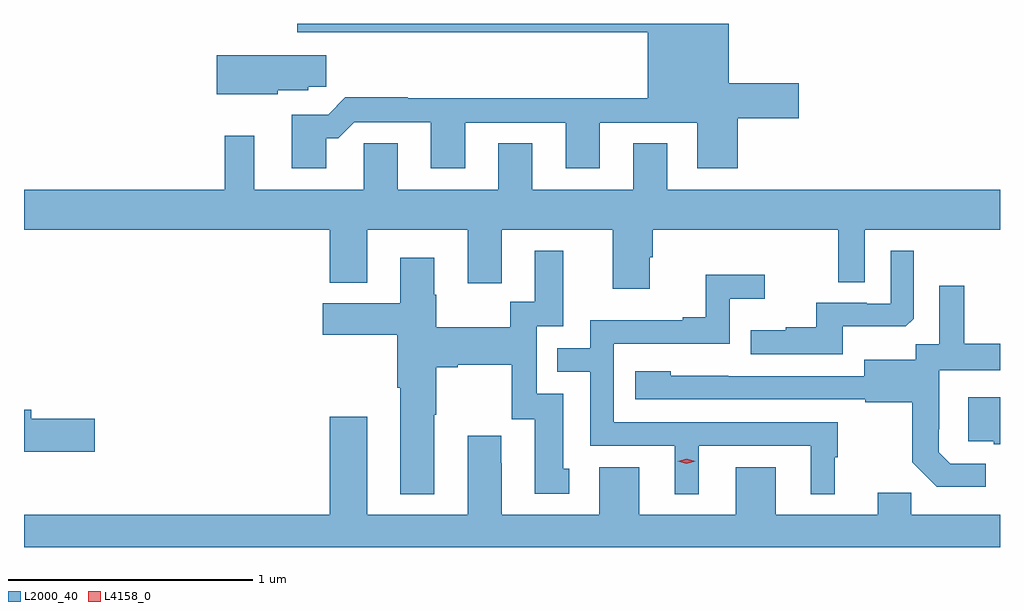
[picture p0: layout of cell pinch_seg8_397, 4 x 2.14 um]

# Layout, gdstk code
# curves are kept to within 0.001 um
import gdstk
lib = gdstk.Library(unit=1e-6, precision=1e-09)
def P(c, l, *ps):  # polygons
    for p in ps: c.add(gdstk.Polygon(p, *l))
L2000_40 = (2000, 40)
L4158_0 = (4158, 0)

pinch_seg8_397 = lib.new_cell('pinch_seg8_397')
P(pinch_seg8_397, L2000_40, [(604.687,1083.575),(604.736,1083.575),(604.803,1083.642),(605.117,1083.642),(605.117,1083.453),(605.257,1083.453),(605.257,1083.639),(605.669,1083.639),(605.669,1083.453),(605.809,1083.453),(605.809,1083.639),(606.209,1083.639),(606.209,1083.453),(606.374,1083.453),(606.374,1083.658),(606.625,1083.658),(606.625,1083.8),(606.337,1083.8),(606.337,1084.044),(604.568,1084.044),(604.568,1084.01),(606.005,1084.01),(606.005,1083.74),(605.021,1083.74),(605.021,1083.743),(604.766,1083.743),(604.695,1083.672),(604.547,1083.672),(604.547,1083.453),(604.687,1083.453)],
  [(604.488,1083.773),(604.614,1083.773),(604.614,1083.787),(604.687,1083.787),(604.687,1083.916),(604.238,1083.916),(604.238,1083.755),(604.488,1083.755)],
  [(606.013,1083.087),(606.026,1083.087),(606.026,1083.2),(606.786,1083.2),(606.786,1082.986),(606.894,1082.986),(606.894,1083.2),(607.449,1083.2),(607.449,1083.364),(606.085,1083.364),(606.085,1083.554),(605.945,1083.554),(605.945,1083.364),(605.533,1083.364),(605.533,1083.554),(605.393,1083.554),(605.393,1083.364),(604.981,1083.364),(604.981,1083.554),(604.842,1083.554),(604.842,1083.364),(604.393,1083.364),(604.393,1083.586),(604.272,1083.586),(604.272,1083.364),(603.449,1083.364),(603.449,1083.2),(604.703,1083.2),(604.703,1082.984),(604.855,1082.984),(604.855,1083.2),(605.267,1083.2),(605.267,1082.982),(605.407,1082.982),(605.407,1083.2),(605.861,1083.2),(605.861,1082.958),(606.013,1082.958)],
  [(606.805,1082.804),(607.063,1082.804),(607.095,1082.835),(607.095,1083.115),(607.002,1083.115),(607.002,1082.898),(606.902,1082.898),(606.902,1082.901),(606.695,1082.901),(606.695,1082.8),(606.571,1082.8),(606.571,1082.788),(606.427,1082.788),(606.427,1082.691),(606.805,1082.691)],
  [(605.131,1082.443),(605.139,1082.443),(605.139,1082.636),(605.227,1082.636),(605.227,1082.648),(605.447,1082.648),(605.447,1082.424),(605.543,1082.424),(605.543,1082.118),(605.683,1082.118),(605.683,1082.22),(605.659,1082.22),(605.659,1082.529),(605.55,1082.529),(605.55,1082.805),(605.659,1082.805),(605.659,1083.115),(605.543,1083.115),(605.543,1082.906),(605.442,1082.906),(605.442,1082.8),(605.139,1082.8),(605.139,1082.934),(605.131,1082.934),(605.131,1083.085),(604.991,1083.085),(604.991,1082.899),(604.674,1082.899),(604.674,1082.77),(604.979,1082.77),(604.979,1082.552),(604.991,1082.552),(604.991,1082.117),(605.131,1082.117)],
  [(606.214,1082.316),(606.674,1082.316),(606.674,1082.117),(606.772,1082.117),(606.772,1082.268),(606.784,1082.268),(606.784,1082.412),(605.865,1082.412),(605.865,1082.733),(606.342,1082.733),(606.342,1082.918),(606.484,1082.918),(606.484,1083.017),(606.244,1083.017),(606.244,1082.842),(606.149,1082.842),(606.149,1082.829),(605.769,1082.829),(605.769,1082.715),(605.635,1082.715),(605.635,1082.619),(605.769,1082.619),(605.769,1082.316),(606.116,1082.316),(606.116,1082.117),(606.214,1082.117)],
  [(607.39,1082.241),(607.245,1082.241),(607.198,1082.288),(607.198,1082.383),(607.2,1082.383),(607.2,1082.624),(607.449,1082.624),(607.449,1082.734),(607.303,1082.734),(607.303,1082.971),(607.199,1082.971),(607.199,1082.732),(607.104,1082.732),(607.104,1082.668),(606.893,1082.668),(606.893,1082.601),(606.099,1082.602),(606.099,1082.62),(605.955,1082.62),(605.955,1082.505),(606.897,1082.505),(606.897,1082.493),(607.089,1082.493),(607.089,1082.247),(607.189,1082.147),(607.39,1082.147)],
  [(607.449,1082.515),(607.319,1082.515),(607.319,1082.334),(607.423,1082.334),(607.423,1082.322),(607.449,1082.322)],
  [(603.739,1082.426),(603.478,1082.426),(603.478,1082.462),(603.449,1082.462),(603.449,1082.291),(603.739,1082.291)],
  [(607.449,1082.032),(607.085,1082.032),(607.085,1082.123),(606.947,1082.123),(606.947,1082.032),(606.529,1082.032),(606.529,1082.227),(606.365,1082.227),(606.365,1082.032),(605.971,1082.032),(605.971,1082.227),(605.807,1082.227),(605.807,1082.032),(605.407,1082.032),(605.407,1082.243),(605.404,1082.243),(605.404,1082.356),(605.267,1082.356),(605.267,1082.032),(604.855,1082.032),(604.855,1082.434),(604.703,1082.434),(604.703,1082.032),(603.449,1082.032),(603.449,1081.9),(607.449,1081.9)])
P(pinch_seg8_397, L4158_0, [(606.165,1082.242),(606.129,1082.252),(606.129,1082.252),(606.129,1082.252),(606.165,1082.262),(606.201,1082.252),(606.201,1082.252),(606.201,1082.252)])

lib.write_gds('pinch_seg8_397.gds')
